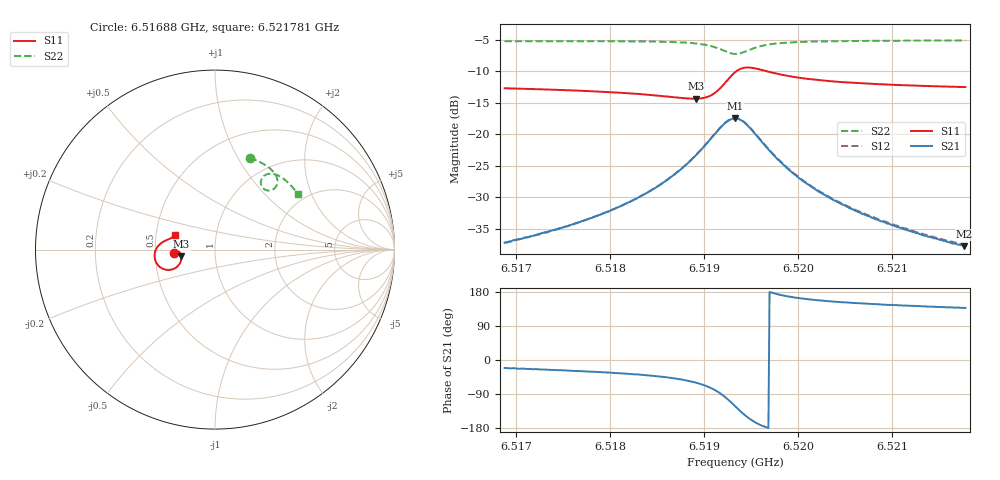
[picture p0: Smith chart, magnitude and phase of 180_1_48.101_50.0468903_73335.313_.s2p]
#  HZ  S  RI  R  50.00
! Rohde & Schwarz Vector Network Analyzer
! Rohde-Schwarz,ZNB20-2Port,1311601062101988,3.16
! Created: UTC 12/23/2023, 3:52:39 AM
! freq[Hz]  re:S11  im:S11  re:S21  im:S21  re:S12  im:S12  re:S22  im:S22
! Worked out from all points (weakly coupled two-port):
!   401 points, 6.51688 GHz to 6.521781 GHz, reference 50 ohm
!   highest |S21| = -17.49 dB at 6.51933 GHz (marker M1); lowest = -37.8 dB at 6.521769 GHz (marker M2)
!   lowest |S11| = -14.4 dB at 6.518914 GHz (marker M3), VSWR 1.47, Z = 34.1 - j2.58 ohm
!   |S11| at or under -10 dB: start of sweep to 6.519345 GHz; 6.519671 GHz to end of sweep
!   |S22| runs from -7.2 to -5.1 dB; largest |S21 - S12| = 0.0041
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6.5168795e9  -0.2311 -0.0193  0.0128 -0.00495  0.013 -0.00445  0.1947 0.5124
6.5173452e9  -0.2261 -0.0124  0.0151 -0.00733  0.0154 -0.00678  0.2291 0.4982
6.5177006e9  -0.2212 -0.00821  0.0178 -0.01  0.018 -0.0094  0.2555 0.4853
6.518154e9  -0.2125 -0.00565  0.0226 -0.0162  0.023 -0.0155  0.2896 0.4646
6.5185217e9  -0.2021 -0.00961  0.0283 -0.027  0.0294 -0.0261  0.3179 0.4415
6.5187177e9  -0.1947 -0.0178  0.0323 -0.0381  0.0336 -0.0372  0.333 0.4237
6.5189138e9  -0.188 -0.0365  0.0343 -0.0586  0.0363 -0.0579  0.3457 0.3972
6.5190119e9  -0.188 -0.0536  0.0313 -0.0752  0.0339 -0.0747  0.348 0.3786
6.5190976e9  -0.1945 -0.0744  0.0221 -0.0941  0.0252 -0.0941  0.3439 0.3587
6.5192324e9  -0.2355 -0.1095  -0.0198 -0.1221  -0.0164 -0.1237  0.3126 0.3304
6.5193305e9  -0.2916 -0.1063  -0.0699 -0.1138  -0.0671 -0.1165  0.2742 0.337
6.5193795e9  -0.316 -0.0884  -0.0896 -0.0956  -0.0877 -0.0988  0.2606 0.3523
6.5194408e9  -0.3334 -0.058  -0.1018 -0.0671  -0.1005 -0.0706  0.2554 0.3755
6.5195388e9  -0.3342 -0.0134  -0.0977 -0.0289  -0.0975 -0.032  0.2671 0.4048
6.5196491e9  -0.319 0.0175  -0.0813 -0.00511  -0.0818 -0.00764  0.2896 0.4199
6.5198942e9  -0.287 0.0442  -0.0517 0.0112  -0.0527 0.00978  0.3306 0.4208
6.5201516e9  -0.2672 0.0537  -0.0354 0.0135  -0.0362 0.0126  0.3594 0.4092
6.5205437e9  -0.25 0.0612  -0.0228 0.0124  -0.0236 0.012  0.3911 0.3873
6.5209726e9  -0.2383 0.0676  -0.0159 0.0111  -0.0164 0.0106  0.4183 0.3621
6.5213158e9  -0.2314 0.0724  -0.0125 0.00976  -0.013 0.00966  0.4373 0.3411
6.5217692e9  -0.2237 0.0786  -0.00946 0.00877  -0.00996 0.00856  0.4595 0.3132
6.5217815e9  -0.2234 0.0788  -0.00956 0.00873  -0.00995 0.00862  0.4599 0.3124
